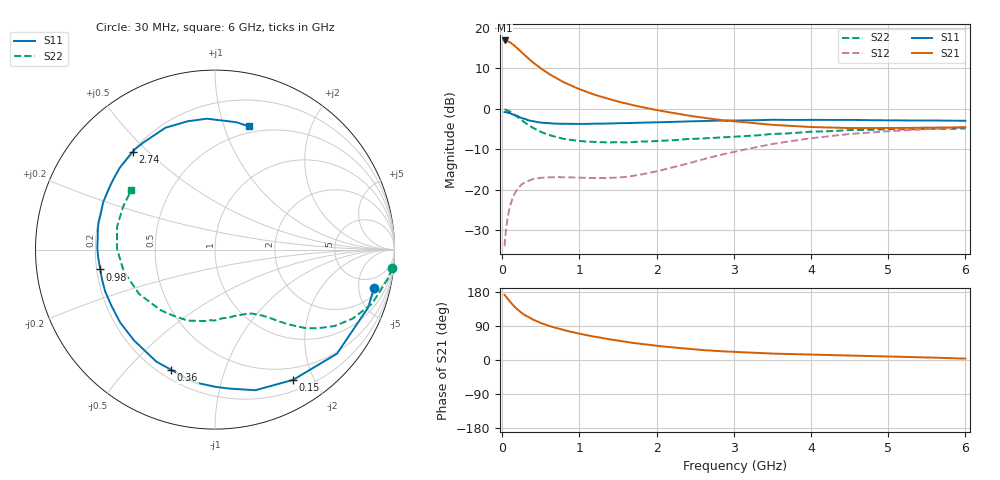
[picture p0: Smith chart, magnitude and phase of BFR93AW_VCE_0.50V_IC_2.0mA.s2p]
! Infineon Technologies  Discrete & RF Semiconductors
! BFR93AW
! VCE = 0.50 V,  IC =  2.0 mA
! Common Emitter S-Parameters:  Nov 2015
# GHz  S  MA  R  50
!  f  S11  S21  S12  S22
! GHz  MAG  ANG  MAG  ANG  MAG  ANG  MAG  ANG
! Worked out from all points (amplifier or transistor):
!   206 points, 30 MHz to 6 GHz, reference 50 ohm
!   highest |S21| = 16.9 dB at 30 MHz (marker M1)
!   |S21| within 3 dB of that: start of sweep to 254.9 MHz
!   unconditionally stable (mu >= 1): 1.159 GHz to 3.062 GHz; 4.518 GHz to end of sweep
!   at 200 MHz: K = 0.17, MSG = 17.3 dB, |S12| = -19.7 dB
!   at 1.56 GHz: K = 1.22, MAG = 6.4 dB, |S12| = -16.9 dB
!   at 6 GHz: K = 1.03, MAG = -1.1 dB, |S12| = -4.6 dB
!   S11 on the Smith chart (normalised r, x): 30 MHz: 2.94, -7.35; 150 MHz: 0.34, -1.72; 360 MHz: 0.25, -0.67; 980 MHz: 0.21, -0.08; 2.74 GHz: 0.20, +0.45; 6 GHz: 0.44, +1.21
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0.03  0.9116 -13.4  6.994 172.0  0.0201 81.0  0.9921 -6.0
0.05  0.9125 -20.7  6.962 166.4  0.0333 78.3  0.9748 -9.9
0.1  0.8934 -40.5  6.66 153.9  0.0629 67.3  0.9255 -19.0
0.15  0.8462 -59.0  6.106 142.2  0.086 58.3  0.8582 -26.6
0.2  0.8152 -74.0  5.557 132.7  0.1036 50.9  0.7904 -32.6
0.26  0.7646 -89.8  4.9 123.0  0.1178 43.4  0.7118 -38.0
0.3  0.7479 -99.2  4.521 117.4  0.1247 39.9  0.6683 -40.9
0.36  0.7129 -110.0  4.025 111.2  0.1309 35.6  0.6144 -43.7
0.4  0.7046 -117.6  3.726 106.2  0.1354 33.0  0.5794 -45.8
0.5  0.678 -131.7  3.153 97.4  0.1407 28.7  0.5173 -49.4
0.6  0.6665 -142.5  2.71 90.3  0.1425 26.1  0.4764 -52.1
0.8  0.6548 -159.3  2.124 78.7  0.1428 23.7  0.4243 -57.8
0.98  0.6489 -170.2  1.782 70.4  0.1414 24.6  0.4027 -62.3
1.04  0.6499 -173.4  1.692 67.8  0.141 25.1  0.3975 -64.4
1.2  0.6558 179.0  1.489 61.3  0.139 27.5  0.3905 -69.4
1.5  0.6655 167.2  1.229 51.2  0.1417 34.7  0.3872 -79.5
2.02  0.6824 149.8  0.958 37.0  0.1706 48.2  0.402 -98.2
2.74  0.7118 130.2  0.746 24.3  0.2573 54.7  0.4376 -123.8
3.1  0.7186 121.3  0.686 20.5  0.3083 53.0  0.457 -135.6
4.1  0.7297 100.2  0.593 13.9  0.4439 41.0  0.5247 -169.3
5.1  0.7194 85.2  0.58 9.1  0.5351 26.9  0.5593 164.4
6  0.712 74.7  0.594 3.6  0.5901 15.9  0.5719 144.7
